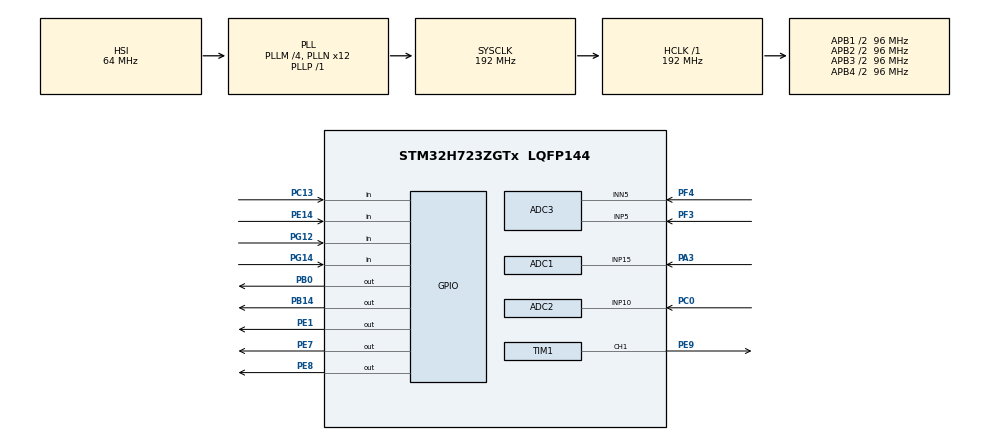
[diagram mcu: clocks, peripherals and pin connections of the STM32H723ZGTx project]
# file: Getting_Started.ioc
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ADC1.Channel-0\#ChannelRegularConversion=ADC_CHANNEL_15
ADC1.NbrOfConversionFlag=1
ADC1.OffsetNumber-0\#ChannelRegularConversion=ADC_OFFSET_NONE
ADC1.OffsetSignedSaturation-0\#ChannelRegularConversion=DISABLE
ADC1.Rank-0\#ChannelRegularConversion=1
ADC1.SamplingTime-0\#ChannelRegularConversion=ADC_SAMPLETIME_1CYCLE_5
ADC1.master=1
ADC2.Channel-0\#ChannelRegularConversion=ADC_CHANNEL_10
ADC2.NbrOfConversionFlag=1
ADC2.OffsetNumber-0\#ChannelRegularConversion=ADC_OFFSET_NONE
ADC2.OffsetSignedSaturation-0\#ChannelRegularConversion=DISABLE
ADC2.Rank-0\#ChannelRegularConversion=1
ADC2.SamplingTime-0\#ChannelRegularConversion=ADC_SAMPLETIME_1CYCLE_5
ADC3.Channel-0\#ChannelRegularConversion=ADC_CHANNEL_5
ADC3.NbrOfConversionFlag=1
ADC3.OffsetNumber-0\#ChannelRegularConversion=ADC_OFFSET_NONE
ADC3.OffsetSign-0\#ChannelRegularConversion=ADC3_OFFSET_SIGN_NEGATIVE
ADC3.Rank-0\#ChannelRegularConversion=1
ADC3.SamplingTime-0\#ChannelRegularConversion=ADC3_SAMPLETIME_2CYCLES_5
ADC3.SingleDiff-0\#ChannelRegularConversion=ADC_DIFFERENTIAL_ENDED
CORTEX_M7.default_mode_Activation=1
Mcu.Family=STM32H7
Mcu.Name=STM32H723ZGTx
Mcu.Package=LQFP144
NUCLEO-H723ZG.BUTTON=1
NUCLEO-H723ZG.LD1=true
NUCLEO-H723ZG.LD2=true
NUCLEO-H723ZG.LD3=true
NUCLEO-H723ZG.VCP=true
NVIC.EXTI15_10_IRQn=true\:0\:0\:false\:false\:true\:false\:true\:true
NVIC.PriorityGroup=NVIC_PRIORITYGROUP_4
PA1.Signal=S_TIM2_CH2
PA13(JTMS/SWDIO).GPIO_Label=SWDIO
PA13(JTMS/SWDIO).Signal=DEBUG_JTMS-SWDIO
PA14(JTCK/SWCLK).GPIO_Label=SWCLK
PA14(JTCK/SWCLK).Signal=DEBUG_JTCK-SWCLK
PA3.Signal=ADCx_INP15
PB0.Signal=GPIO_Output
PB14.Signal=GPIO_Output
PC0.Signal=ADCx_INP10
PC13.Signal=GPIO_Input
PC14-OSC32_IN.Signal=RCC_OSC32_IN
PC15-OSC32_OUT.Signal=RCC_OSC32_OUT
PD8.Signal=USART3_TX
PD9.Signal=USART3_RX
PE1.Signal=GPIO_Output
PE14.Signal=GPIO_Input
PE7.Signal=GPIO_Output
PE8.Signal=GPIO_Output
PE9.Signal=S_TIM1_CH1
PF3.Mode=IN5-Differential
PF3.Signal=ADC3_INP5
PF4.Mode=IN5-Differential
PF4.Signal=ADC3_INN5
PG12.Signal=GPIO_Input
PG14.Signal=GPIO_Input
ProjectManager.HeapSize=0x200
ProjectManager.StackSize=0x400
ProjectManager.TargetToolchain=STM32CubeIDE
RCC.ADCFreq_Value=48000000
RCC.APB1Freq_Value=96000000
RCC.APB2Freq_Value=96000000
RCC.APB3Freq_Value=96000000
RCC.APB4Freq_Value=96000000
RCC.CortexFreq_Value=192000000
RCC.D1PPRE=RCC_APB3_DIV2
RCC.D2PPRE1=RCC_APB1_DIV2
RCC.D2PPRE2=RCC_APB2_DIV2
RCC.D3PPRE=RCC_APB4_DIV2
RCC.DIVM1=4
RCC.DIVM2=4
RCC.DIVN1=12
RCC.DIVN2=12
RCC.DIVP1=1
RCC.DIVP2=4
RCC.DIVQ1=4
RCC.HCLKFreq_Value=192000000
RCC.HSE_VALUE=8000000
RCC.PLL2FRACN=0
RCC.PLLFRACN=0
RCC.SYSCLKFreq_VALUE=192000000
RCC.SYSCLKSource=RCC_SYSCLKSOURCE_PLLCLK
RCC.USBCLockSelection=RCC_USBCLKSOURCE_HSI48
RCC.USBFreq_Value=48000000
SH.ADCx_INP10.0=ADC2_INP10,IN10-Single-Ended
SH.ADCx_INP15.0=ADC1_INP15,IN15-Single-Ended
SH.S_TIM1_CH1.0=TIM1_CH1,PWM Generation1 CH1
SH.S_TIM2_CH2.0=TIM2_CH2
TIM1.Channel-PWM\ Generation1\ CH1=TIM_CHANNEL_1
TIM1.Period=65535
TIM1.Prescaler=18
VP_MEMORYMAP_VS_MEMORYMAP.Mode=CurAppReg
VP_NUCLEO-H723ZG_VS_BSP_COMMON.Mode=COMMON
VP_TIM1_VS_ClockSourceINT.Mode=Internal
board=NUCLEO-H723ZG

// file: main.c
/* USER CODE BEGIN Header */
/**
  ******************************************************************************
  * @file           : main.c
  * @brief          : Main program body
  ******************************************************************************
  * @attention
  *
  * Copyright (c) 2025 STMicroelectronics.
  * All rights reserved.
  *
  * This software is licensed under terms that can be found in the LICENSE file
  * in the root directory of this software component.
  * If no LICENSE file comes with this software, it is provided AS-IS.
  *
  ******************************************************************************
  */
/* USER CODE END Header */
#include "main.h"

/* USER CODE BEGIN Includes */
#include <stdio.h>
//#include <string.h>
/* USER CODE END Includes */

/* USER CODE BEGIN PTD */
extern void initialise_monitor_handles(void);
/* USER CODE END PTD */

COM_InitTypeDef BspCOMInit;
ADC_HandleTypeDef hadc1;
ADC_HandleTypeDef hadc2;
ADC_HandleTypeDef hadc3;

TIM_HandleTypeDef htim1;

/* USER CODE BEGIN PV */
uint8_t heating = 0;
uint16_t tmp = 0;
uint16_t PWM_state = 0;
uint8_t button_state = 0;
uint8_t PWM_button = 0;
//uint8_t msg[] = "Initial Message";
//uint32_t value_dac=0;
/* USER CODE END PV */

void SystemClock_Config(void);
void PeriphCommonClock_Config(void);
static void MPU_Config(void);
static void MX_GPIO_Init(void);
static void MX_ADC3_Init(void);
static void MX_TIM1_Init(void);
static void MX_ADC1_Init(void);
static void MX_ADC2_Init(void);

/* USER CODE BEGIN 0 */
void Gen_PWM1(uint16_t us){
	__HAL_TIM_SET_COUNTER(&htim1,0); //reset the timer counter
	HAL_TIM_Base_Start(&htim1); //start the timer
	while (__HAL_TIM_GET_COUNTER(&htim1) < us-10);  // wait for the counter to reach the us value provided as an argument
	HAL_GPIO_TogglePin(GPIOE, GPIO_PIN_8);
	while (__HAL_TIM_GET_COUNTER(&htim1) < us);
	HAL_GPIO_TogglePin(GPIOE, GPIO_PIN_7);
	HAL_TIM_Base_Stop(&htim1); //stop the timer.
}

void Gen_PWM2(uint16_t us){
	__HAL_TIM_SET_COUNTER(&htim1,0); //reset the timer counter
	HAL_TIM_Base_Start(&htim1); //start the timer
	while (__HAL_TIM_GET_COUNTER(&htim1) < us-10);  // wait for the counter to reach the us value provided as an argument
	HAL_GPIO_TogglePin(GPIOE, GPIO_PIN_7);
	while (__HAL_TIM_GET_COUNTER(&htim1) < us);
	HAL_GPIO_TogglePin(GPIOE, GPIO_PIN_8);
	HAL_TIM_Base_Stop(&htim1); //stop the timer.
}

void GenPWM (){
	if(PWM_state == 0) {PWM_state = 1; Gen_PWM1(15);}
	else {PWM_state = 0; Gen_PWM2(15);}
}

void CheckTemperature(uint16_t min, uint16_t max, uint16_t absmax, uint16_t curr){
	if(heating > 4) {
		if(heating == 6) {heating = 0; return;}
		if(heating == 5) {heating = 10;}
		if(curr < absmax) {
			HAL_GPIO_WritePin(GPIOB, GPIO_PIN_0, GPIO_PIN_SET);
			HAL_GPIO_WritePin(GPIOE, GPIO_PIN_1, GPIO_PIN_RESET);
			HAL_GPIO_WritePin(GPIOB, GPIO_PIN_14, GPIO_PIN_RESET);}
		else{
			HAL_GPIO_WritePin(GPIOB, GPIO_PIN_14, GPIO_PIN_SET);
			HAL_GPIO_WritePin(GPIOB, GPIO_PIN_0, GPIO_PIN_RESET);
			HAL_GPIO_WritePin(GPIOE, GPIO_PIN_8, GPIO_PIN_RESET);
			HAL_GPIO_WritePin(GPIOE, GPIO_PIN_7, GPIO_PIN_RESET);
			HAL_GPIO_WritePin(GPIOE, GPIO_PIN_1, GPIO_PIN_RESET);}
			if(tmp < (max-min)*0.25+min){heating--;}
			return;
		}
	if(curr > max){
			heating++;}
	HAL_GPIO_WritePin(GPIOE, GPIO_PIN_8, GPIO_PIN_SET);
	if(curr < min){
		HAL_GPIO_WritePin(GPIOE, GPIO_PIN_1, GPIO_PIN_SET);
		HAL_GPIO_WritePin(GPIOB, GPIO_PIN_0, GPIO_PIN_RESET);
		HAL_GPIO_WritePin(GPIOB, GPIO_PIN_14, GPIO_PIN_RESET);}
	else{
		HAL_GPIO_WritePin(GPIOB, GPIO_PIN_0, GPIO_PIN_SET);
		HAL_GPIO_WritePin(GPIOE, GPIO_PIN_1, GPIO_PIN_RESET);
		HAL_GPIO_WritePin(GPIOB, GPIO_PIN_14, GPIO_PIN_RESET);}

}
/* USER CODE END 0 */

int main(void)
{

  /* USER CODE BEGIN 1 */
//	initialise_monitor_handles();
  /* USER CODE END 1 */

  /* MPU Configuration--------------------------------------------------------*/
  MPU_Config();

  /* MCU Configuration--------------------------------------------------------*/

  /* Reset of all peripherals, Initializes the Flash interface and the Systick. */
  HAL_Init();

  /* Configure the system clock */
  SystemClock_Config();

  /* Configure the peripherals common clocks */
  PeriphCommonClock_Config();

  /* Initialize all configured peripherals */
  MX_GPIO_Init();
  MX_ADC3_Init();
  MX_TIM1_Init();
  MX_ADC1_Init();
  MX_ADC2_Init();
  /* USER CODE BEGIN 2 */
//uint8_t button_val = 0;
//uint8_t led_on = 0;
//uint8_t button_state = 0;
HAL_GPIO_WritePin(GPIOE, GPIO_PIN_8, GPIO_PIN_SET);
HAL_GPIO_WritePin(GPIOE, GPIO_PIN_1, GPIO_PIN_SET);
  /* USER CODE END 2 */

  /* Initialize leds */
  BSP_LED_Init(LED_GREEN);
  BSP_LED_Init(LED_YELLOW);
  BSP_LED_Init(LED_RED);

  /* Initialize USER push-button, will be used to trigger an interrupt each time it's pressed.*/
  BSP_PB_Init(BUTTON_USER, BUTTON_MODE_EXTI);

  /* Initialize COM1 port (115200, 8 bits (7-bit data + 1 stop bit), no parity */
  BspCOMInit.BaudRate   = 115200;
  BspCOMInit.WordLength = COM_WORDLENGTH_8B;
  BspCOMInit.StopBits   = COM_STOPBITS_1;
  BspCOMInit.Parity     = COM_PARITY_NONE;
  BspCOMInit.HwFlowCtl  = COM_HWCONTROL_NONE;
  if (BSP_COM_Init(COM1, &BspCOMInit) != BSP_ERROR_NONE)
  {
    Error_Handler();
  }

  /* Infinite loop */
  /* USER CODE BEGIN WHILE */
  while (1)
  {
//
    /* USER CODE END WHILE */

    /* USER CODE BEGIN 3 */
//	  PWM

//	  ADC INPUT CODE
//	  HAL_ADC_Start(&hadc1);
//	  HAL_ADC_PollForConversion(&hadc1, 100);
//	  tmp = HAL_ADC_GetValue(&hadc1);
//	  printf("%hu \n", tmp);
//	  HAL_ADC_Stop(&hadc1);
//	  HAL_Delay(500);

//	  PWM
//	  if(PWM_state == 0) {PWM_state = 1; Gen_PWM1(25);}
//	  else {PWM_state = 0; Gen_PWM2(25);}

//	  BUTTON PUSH PWM
//	  if(HAL_GPIO_ReadPin(GPIOC, GPIO_PIN_13)) {
//		  button_state = 1;
//	  }
//	  else {
//		  	  if(button_state == 1) {
//			 HAL_GPIO_TogglePin(GPIOB, GPIO_PIN_14);
//			 if(PWM_button == 0) {PWM_button = 1;}
//			 else {PWM_button = 0;}
//			 button_state = 0;
//		 }
//	 }
//	  if(PWM_button == 1){
//		  if(PWM_state == 0) {PWM_state = 1; Gen_PWM1(23);}
//		  else {PWM_state = 0; Gen_PWM2(23);}
//	  }

	  HAL_ADC_Start(&hadc1);
	  HAL_ADC_PollForConversion(&hadc1, 100);
	  tmp = HAL_ADC_GetValue(&hadc1);
//	  if(tmp < 13795)
//	  {
//		  HAL_GPIO_WritePin(GPIOB, GPIO_PIN_14, GPIO_PIN_RESET);
//		  HAL_GPIO_WritePin(GPIOE, GPIO_PIN_8, GPIO_PIN_SET);
//		  HAL_GPIO_WritePin(GPIOB, GPIO_PIN_0, GPIO_PIN_SET);
//	  }
//	  else{
//		  HAL_GPIO_WritePin(GPIOB, GPIO_PIN_14, GPIO_PIN_SET);
//		  HAL_GPIO_WritePin(GPIOE, GPIO_PIN_8, GPIO_PIN_RESET);
//		  HAL_GPIO_WritePin(GPIOB, GPIO_PIN_0, GPIO_PIN_RESET);
//	  }
	  HAL_ADC_Stop(&hadc1);

	  if(HAL_GPIO_ReadPin(GPIOG, GPIO_PIN_14)) {
//		  GenPWM();
		  HAL_GPIO_WritePin(GPIOE, GPIO_PIN_7, GPIO_PIN_SET);
		  if(HAL_GPIO_ReadPin(GPIOE, GPIO_PIN_14)) {
//			  printf("Cut On \n");
			  CheckTemperature(22855, 25121, 45509, tmp);
//			  CheckTemperature(40978, 43244, 45509, tmp);
		  }
		  else{
//			  printf("Coag On \n");
//			  CheckTemperature(14927, 21723, tmp);
			  CheckTemperature(14927, 16000, 21723, tmp);}
	  }
	  else{
//		  printf("System Off \n");
		  HAL_GPIO_WritePin(GPIOB, GPIO_PIN_14, GPIO_PIN_RESET);
		  HAL_GPIO_WritePin(GPIOB, GPIO_PIN_0, GPIO_PIN_RESET);
		  HAL_GPIO_WritePin(GPIOE, GPIO_PIN_8, GPIO_PIN_RESET);
		  HAL_GPIO_WritePin(GPIOE, GPIO_PIN_7, GPIO_PIN_RESET);
		  HAL_GPIO_WritePin(GPIOE, GPIO_PIN_1, GPIO_PIN_RESET);}
//
  }

  /* USER CODE END 3 */
}

void SystemClock_Config(void)
{
  RCC_OscInitTypeDef RCC_OscInitStruct = {0};
  RCC_ClkInitTypeDef RCC_ClkInitStruct = {0};

  /** Supply configuration update enable
  */
  HAL_PWREx_ConfigSupply(PWR_LDO_SUPPLY);

  /** Configure the main internal regulator output voltage
  */
  __HAL_PWR_VOLTAGESCALING_CONFIG(PWR_REGULATOR_VOLTAGE_SCALE1);

  while(!__HAL_PWR_GET_FLAG(PWR_FLAG_VOSRDY)) {}

  /** Initializes the RCC Oscillators according to the specified parameters
  * in the RCC_OscInitTypeDef structure.
  */
  RCC_OscInitStruct.OscillatorType = RCC_OSCILLATORTYPE_HSI;
  RCC_OscInitStruct.HSIState = RCC_HSI_DIV1;
  RCC_OscInitStruct.HSICalibrationValue = 64;
  RCC_OscInitStruct.PLL.PLLState = RCC_PLL_ON;
  RCC_OscInitStruct.PLL.PLLSource = RCC_PLLSOURCE_HSI;
  RCC_OscInitStruct.PLL.PLLM = 4;
  RCC_OscInitStruct.PLL.PLLN = 12;
  RCC_OscInitStruct.PLL.PLLP = 1;
  RCC_OscInitStruct.PLL.PLLQ = 4;
  RCC_OscInitStruct.PLL.PLLR = 2;
  RCC_OscInitStruct.PLL.PLLRGE = RCC_PLL1VCIRANGE_3;
  RCC_OscInitStruct.PLL.PLLVCOSEL = RCC_PLL1VCOWIDE;
  RCC_OscInitStruct.PLL.PLLFRACN = 0;
  if (HAL_RCC_OscConfig(&RCC_OscInitStruct) != HAL_OK)
  {
    Error_Handler();
  }

  /** Initializes the CPU, AHB and APB buses clocks
  */
  RCC_ClkInitStruct.ClockType = RCC_CLOCKTYPE_HCLK|RCC_CLOCKTYPE_SYSCLK
                              |RCC_CLOCKTYPE_PCLK1|RCC_CLOCKTYPE_PCLK2
                              |RCC_CLOCKTYPE_D3PCLK1|RCC_CLOCKTYPE_D1PCLK1;
  RCC_ClkInitStruct.SYSCLKSource = RCC_SYSCLKSOURCE_PLLCLK;
  RCC_ClkInitStruct.SYSCLKDivider = RCC_SYSCLK_DIV1;
  RCC_ClkInitStruct.AHBCLKDivider = RCC_HCLK_DIV1;
  RCC_ClkInitStruct.APB3CLKDivider = RCC_APB3_DIV2;
  RCC_ClkInitStruct.APB1CLKDivider = RCC_APB1_DIV2;
  RCC_ClkInitStruct.APB2CLKDivider = RCC_APB2_DIV2;
  RCC_ClkInitStruct.APB4CLKDivider = RCC_APB4_DIV2;

  if (HAL_RCC_ClockConfig(&RCC_ClkInitStruct, FLASH_LATENCY_2) != HAL_OK)
  {
    Error_Handler();
  }
}

void PeriphCommonClock_Config(void)
{
  RCC_PeriphCLKInitTypeDef PeriphClkInitStruct = {0};

  /** Initializes the peripherals clock
  */
  PeriphClkInitStruct.PeriphClockSelection = RCC_PERIPHCLK_ADC;
  PeriphClkInitStruct.PLL2.PLL2M = 4;
  PeriphClkInitStruct.PLL2.PLL2N = 12;
  PeriphClkInitStruct.PLL2.PLL2P = 4;
  PeriphClkInitStruct.PLL2.PLL2Q = 2;
  PeriphClkInitStruct.PLL2.PLL2R = 2;
  PeriphClkInitStruct.PLL2.PLL2RGE = RCC_PLL2VCIRANGE_3;
  PeriphClkInitStruct.PLL2.PLL2VCOSEL = RCC_PLL2VCOWIDE;
  PeriphClkInitStruct.PLL2.PLL2FRACN = 0;
  PeriphClkInitStruct.AdcClockSelection = RCC_ADCCLKSOURCE_PLL2;
  if (HAL_RCCEx_PeriphCLKConfig(&PeriphClkInitStruct) != HAL_OK)
  {
    Error_Handler();
  }
}

static void MX_ADC1_Init(void)
{

  ADC_MultiModeTypeDef multimode = {0};
  ADC_ChannelConfTypeDef sConfig = {0};

  /** Common config
  */
  hadc1.Instance = ADC1;
  hadc1.Init.ClockPrescaler = ADC_CLOCK_ASYNC_DIV1;
  hadc1.Init.Resolution = ADC_RESOLUTION_16B;
  hadc1.Init.ScanConvMode = ADC_SCAN_DISABLE;
  hadc1.Init.EOCSelection = ADC_EOC_SINGLE_CONV;
  hadc1.Init.LowPowerAutoWait = DISABLE;
  hadc1.Init.ContinuousConvMode = DISABLE;
  hadc1.Init.NbrOfConversion = 1;
  hadc1.Init.DiscontinuousConvMode = DISABLE;
  hadc1.Init.ExternalTrigConv = ADC_SOFTWARE_START;
  hadc1.Init.ExternalTrigConvEdge = ADC_EXTERNALTRIGCONVEDGE_NONE;
  hadc1.Init.ConversionDataManagement = ADC_CONVERSIONDATA_DR;
  hadc1.Init.Overrun = ADC_OVR_DATA_PRESERVED;
  hadc1.Init.LeftBitShift = ADC_LEFTBITSHIFT_NONE;
  hadc1.Init.OversamplingMode = DISABLE;
  hadc1.Init.Oversampling.Ratio = 1;
  if (HAL_ADC_Init(&hadc1) != HAL_OK)
  {
    Error_Handler();
  }

  /** Configure the ADC multi-mode
  */
  multimode.Mode = ADC_MODE_INDEPENDENT;
  if (HAL_ADCEx_MultiModeConfigChannel(&hadc1, &multimode) != HAL_OK)
  {
    Error_Handler();
  }

  /** Configure Regular Channel
  */
  sConfig.Channel = ADC_CHANNEL_15;
  sConfig.Rank = ADC_REGULAR_RANK_1;
  sConfig.SamplingTime = ADC_SAMPLETIME_1CYCLE_5;
  sConfig.SingleDiff = ADC_SINGLE_ENDED;
  sConfig.OffsetNumber = ADC_OFFSET_NONE;
  sConfig.Offset = 0;
  sConfig.OffsetSignedSaturation = DISABLE;
  if (HAL_ADC_ConfigChannel(&hadc1, &sConfig) != HAL_OK)
  {
    Error_Handler();
  }

}

static void MX_ADC2_Init(void)
{

  ADC_ChannelConfTypeDef sConfig = {0};

  /** Common config
  */
  hadc2.Instance = ADC2;
  hadc2.Init.ClockPrescaler = ADC_CLOCK_ASYNC_DIV1;
  hadc2.Init.Resolution = ADC_RESOLUTION_16B;
  hadc2.Init.ScanConvMode = ADC_SCAN_DISABLE;
  hadc2.Init.EOCSelection = ADC_EOC_SINGLE_CONV;
  hadc2.Init.LowPowerAutoWait = DISABLE;
  hadc2.Init.ContinuousConvMode = DISABLE;
  hadc2.Init.NbrOfConversion = 1;
  hadc2.Init.DiscontinuousConvMode = DISABLE;
  hadc2.Init.ExternalTrigConv = ADC_SOFTWARE_START;
  hadc2.Init.ExternalTrigConvEdge = ADC_EXTERNALTRIGCONVEDGE_NONE;
  hadc2.Init.ConversionDataManagement = ADC_CONVERSIONDATA_DR;
  hadc2.Init.Overrun = ADC_OVR_DATA_PRESERVED;
  hadc2.Init.LeftBitShift = ADC_LEFTBITSHIFT_NONE;
  hadc2.Init.OversamplingMode = DISABLE;
  hadc2.Init.Oversampling.Ratio = 1;
  if (HAL_ADC_Init(&hadc2) != HAL_OK)
  {
    Error_Handler();
  }

  /** Configure Regular Channel
  */
  sConfig.Channel = ADC_CHANNEL_10;
  sConfig.Rank = ADC_REGULAR_RANK_1;
  sConfig.SamplingTime = ADC_SAMPLETIME_1CYCLE_5;
  sConfig.SingleDiff = ADC_SINGLE_ENDED;
  sConfig.OffsetNumber = ADC_OFFSET_NONE;
  sConfig.Offset = 0;
  sConfig.OffsetSignedSaturation = DISABLE;
  if (HAL_ADC_ConfigChannel(&hadc2, &sConfig) != HAL_OK)
  {
    Error_Handler();
  }

}

static void MX_ADC3_Init(void)
{

  ADC_ChannelConfTypeDef sConfig = {0};

  /** Common config
  */
  hadc3.Instance = ADC3;
  hadc3.Init.ClockPrescaler = ADC_CLOCK_ASYNC_DIV1;
  hadc3.Init.Resolution = ADC_RESOLUTION_12B;
  hadc3.Init.DataAlign = ADC3_DATAALIGN_RIGHT;
  hadc3.Init.ScanConvMode = ADC_SCAN_DISABLE;
  hadc3.Init.EOCSelection = ADC_EOC_SINGLE_CONV;
  hadc3.Init.LowPowerAutoWait = DISABLE;
  hadc3.Init.ContinuousConvMode = DISABLE;
  hadc3.Init.NbrOfConversion = 1;
  hadc3.Init.DiscontinuousConvMode = DISABLE;
  hadc3.Init.ExternalTrigConv = ADC_SOFTWARE_START;
  hadc3.Init.ExternalTrigConvEdge = ADC_EXTERNALTRIGCONVEDGE_NONE;
  hadc3.Init.DMAContinuousRequests = DISABLE;
  hadc3.Init.SamplingMode = ADC_SAMPLING_MODE_NORMAL;
  hadc3.Init.ConversionDataManagement = ADC_CONVERSIONDATA_DR;
  hadc3.Init.Overrun = ADC_OVR_DATA_PRESERVED;
  hadc3.Init.LeftBitShift = ADC_LEFTBITSHIFT_NONE;
  hadc3.Init.OversamplingMode = DISABLE;
  hadc3.Init.Oversampling.Ratio = ADC3_OVERSAMPLING_RATIO_2;
  if (HAL_ADC_Init(&hadc3) != HAL_OK)
  {
    Error_Handler();
  }

  /** Configure Regular Channel
  */
  sConfig.Channel = ADC_CHANNEL_5;
  sConfig.Rank = ADC_REGULAR_RANK_1;
  sConfig.SamplingTime = ADC3_SAMPLETIME_2CYCLES_5;
  sConfig.SingleDiff = ADC_DIFFERENTIAL_ENDED;
  sConfig.OffsetNumber = ADC_OFFSET_NONE;
  sConfig.Offset = 0;
  sConfig.OffsetSign = ADC3_OFFSET_SIGN_NEGATIVE;
  if (HAL_ADC_ConfigChannel(&hadc3, &sConfig) != HAL_OK)
  {
    Error_Handler();
  }

}

static void MX_TIM1_Init(void)
{

  /* USER CODE BEGIN TIM1_Init 0 */
	  __HAL_RCC_TIM1_CLK_ENABLE();
  /* USER CODE END TIM1_Init 0 */

  TIM_ClockConfigTypeDef sClockSourceConfig = {0};
  TIM_MasterConfigTypeDef sMasterConfig = {0};
  TIM_OC_InitTypeDef sConfigOC = {0};
  TIM_BreakDeadTimeConfigTypeDef sBreakDeadTimeConfig = {0};

  htim1.Instance = TIM1;
  htim1.Init.Prescaler = 18;
  htim1.Init.CounterMode = TIM_COUNTERMODE_UP;
  htim1.Init.Period = 65535;
  htim1.Init.ClockDivision = TIM_CLOCKDIVISION_DIV1;
  htim1.Init.RepetitionCounter = 0;
  htim1.Init.AutoReloadPreload = TIM_AUTORELOAD_PRELOAD_DISABLE;
  if (HAL_TIM_Base_Init(&htim1) != HAL_OK)
  {
    Error_Handler();
  }
  sClockSourceConfig.ClockSource = TIM_CLOCKSOURCE_INTERNAL;
  if (HAL_TIM_ConfigClockSource(&htim1, &sClockSourceConfig) != HAL_OK)
  {
    Error_Handler();
  }
  if (HAL_TIM_PWM_Init(&htim1) != HAL_OK)
  {
    Error_Handler();
  }
  sMasterConfig.MasterOutputTrigger = TIM_TRGO_RESET;
  sMasterConfig.MasterOutputTrigger2 = TIM_TRGO2_RESET;
  sMasterConfig.MasterSlaveMode = TIM_MASTERSLAVEMODE_DISABLE;
  if (HAL_TIMEx_MasterConfigSynchronization(&htim1, &sMasterConfig) != HAL_OK)
  {
    Error_Handler();
  }
  sConfigOC.OCMode = TIM_OCMODE_PWM1;
  sConfigOC.Pulse = 0;
  sConfigOC.OCPolarity = TIM_OCPOLARITY_HIGH;
  sConfigOC.OCNPolarity = TIM_OCNPOLARITY_HIGH;
  sConfigOC.OCFastMode = TIM_OCFAST_DISABLE;
  sConfigOC.OCIdleState = TIM_OCIDLESTATE_RESET;
  sConfigOC.OCNIdleState = TIM_OCNIDLESTATE_RESET;
  if (HAL_TIM_PWM_ConfigChannel(&htim1, &sConfigOC, TIM_CHANNEL_1) != HAL_OK)
  {
    Error_Handler();
  }
  sBreakDeadTimeConfig.OffStateRunMode = TIM_OSSR_DISABLE;
  sBreakDeadTimeConfig.OffStateIDLEMode = TIM_OSSI_DISABLE;
  sBreakDeadTimeConfig.LockLevel = TIM_LOCKLEVEL_OFF;
  sBreakDeadTimeConfig.DeadTime = 0;
  sBreakDeadTimeConfig.BreakState = TIM_BREAK_DISABLE;
  sBreakDeadTimeConfig.BreakPolarity = TIM_BREAKPOLARITY_HIGH;
  sBreakDeadTimeConfig.BreakFilter = 0;
  sBreakDeadTimeConfig.Break2State = TIM_BREAK2_DISABLE;
  sBreakDeadTimeConfig.Break2Polarity = TIM_BREAK2POLARITY_HIGH;
  sBreakDeadTimeConfig.Break2Filter = 0;
  sBreakDeadTimeConfig.AutomaticOutput = TIM_AUTOMATICOUTPUT_DISABLE;
  if (HAL_TIMEx_ConfigBreakDeadTime(&htim1, &sBreakDeadTimeConfig) != HAL_OK)
  {
    Error_Handler();
  }
  /* USER CODE BEGIN TIM1_Init 2 */
//  HAL_TIM_PWM_MspInit(&htim1);

  /* USER CODE END TIM1_Init 2 */
  HAL_TIM_MspPostInit(&htim1);

}

static void MX_GPIO_Init(void)
{
  GPIO_InitTypeDef GPIO_InitStruct = {0};

  /* GPIO Ports Clock Enable */
  __HAL_RCC_GPIOC_CLK_ENABLE();
  __HAL_RCC_GPIOF_CLK_ENABLE();
  __HAL_RCC_GPIOA_CLK_ENABLE();
  __HAL_RCC_GPIOE_CLK_ENABLE();
  __HAL_RCC_GPIOG_CLK_ENABLE();

  /*Configure GPIO pin Output Level */
  HAL_GPIO_WritePin(GPIOE, GPIO_PIN_7|GPIO_PIN_8, GPIO_PIN_RESET);

  /*Configure GPIO pin : PC13 */
  GPIO_InitStruct.Pin = GPIO_PIN_13;
  GPIO_InitStruct.Mode = GPIO_MODE_INPUT;
  GPIO_InitStruct.Pull = GPIO_NOPULL;
  HAL_GPIO_Init(GPIOC, &GPIO_InitStruct);

  /*Configure GPIO pin : PA1 */
  GPIO_InitStruct.Pin = GPIO_PIN_1;
  GPIO_InitStruct.Mode = GPIO_MODE_AF_PP;
  GPIO_InitStruct.Pull = GPIO_NOPULL;
  GPIO_InitStruct.Speed = GPIO_SPEED_FREQ_LOW;
  GPIO_InitStruct.Alternate = GPIO_AF1_TIM2;
  HAL_GPIO_Init(GPIOA, &GPIO_InitStruct);

  /*Configure GPIO pins : PE7 PE8 */
  GPIO_InitStruct.Pin = GPIO_PIN_7|GPIO_PIN_8;
  GPIO_InitStruct.Mode = GPIO_MODE_OUTPUT_PP;
  GPIO_InitStruct.Pull = GPIO_NOPULL;
  GPIO_InitStruct.Speed = GPIO_SPEED_FREQ_LOW;
  HAL_GPIO_Init(GPIOE, &GPIO_InitStruct);

  /*Configure GPIO pin : PE14 */
  GPIO_InitStruct.Pin = GPIO_PIN_14;
  GPIO_InitStruct.Mode = GPIO_MODE_INPUT;
  GPIO_InitStruct.Pull = GPIO_NOPULL;
  HAL_GPIO_Init(GPIOE, &GPIO_InitStruct);

  /*Configure GPIO pins : PG12 PG14 */
  GPIO_InitStruct.Pin = GPIO_PIN_12|GPIO_PIN_14;
  GPIO_InitStruct.Mode = GPIO_MODE_INPUT;
  GPIO_InitStruct.Pull = GPIO_NOPULL;
  HAL_GPIO_Init(GPIOG, &GPIO_InitStruct);

}

 /* MPU Configuration */

void MPU_Config(void)
{
  MPU_Region_InitTypeDef MPU_InitStruct = {0};

  /* Disables the MPU */
  HAL_MPU_Disable();

  /** Initializes and configures the Region and the memory to be protected
  */
  MPU_InitStruct.Enable = MPU_REGION_ENABLE;
  MPU_InitStruct.Number = MPU_REGION_NUMBER0;
  MPU_InitStruct.BaseAddress = 0x0;
  MPU_InitStruct.Size = MPU_REGION_SIZE_4GB;
  MPU_InitStruct.SubRegionDisable = 0x87;
  MPU_InitStruct.TypeExtField = MPU_TEX_LEVEL0;
  MPU_InitStruct.AccessPermission = MPU_REGION_NO_ACCESS;
  MPU_InitStruct.DisableExec = MPU_INSTRUCTION_ACCESS_DISABLE;
  MPU_InitStruct.IsShareable = MPU_ACCESS_SHAREABLE;
  MPU_InitStruct.IsCacheable = MPU_ACCESS_NOT_CACHEABLE;
  MPU_InitStruct.IsBufferable = MPU_ACCESS_NOT_BUFFERABLE;

  HAL_MPU_ConfigRegion(&MPU_InitStruct);
  /* Enables the MPU */
  HAL_MPU_Enable(MPU_PRIVILEGED_DEFAULT);

}

void Error_Handler(void)
{
  __disable_irq();
  while (1)
  {
  }
}
